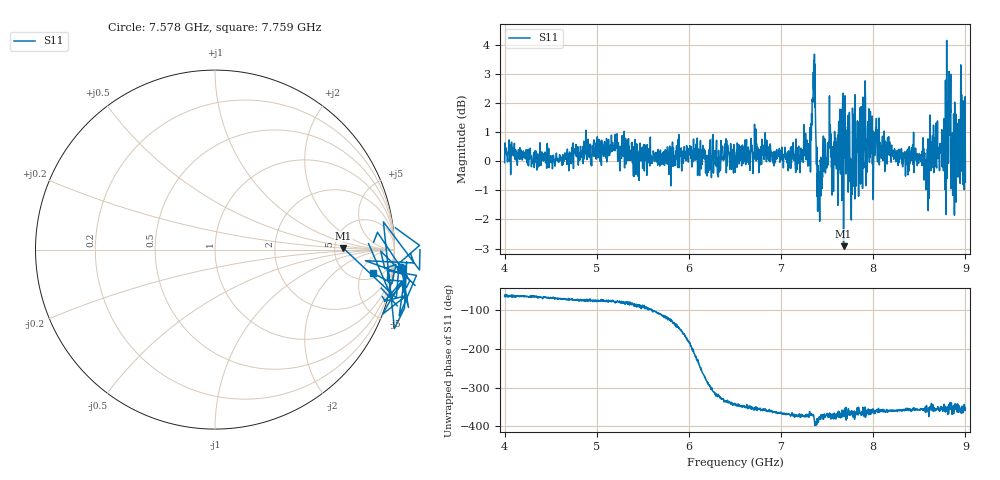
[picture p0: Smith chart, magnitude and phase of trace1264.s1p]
! Created with skrf 1.8.0 (http://scikit-rf.org).
# Hz S RI R 50.0
!freq ReS11 ImS11
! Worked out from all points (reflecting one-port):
!   1601 points, 4 GHz to 9 GHz, reference 50 ohm
!   lowest |S11| = -2.9 dB at 7.678 GHz (marker M1), VSWR 6.01, Z = 300 + j10.6 ohm
!   phase of S11 starts at -63 deg and turns -292 deg over the sweep
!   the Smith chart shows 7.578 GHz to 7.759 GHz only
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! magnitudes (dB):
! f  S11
! 4 GHz  0.0
! 4.625 GHz  -0.1
! 5.25 GHz  -0.3
! 5.875 GHz  0.3
! 6.5 GHz  -0.2
! 7.125 GHz  0.4
! 7.294 GHz  0.1
! 7.35 GHz  3.1
! 7.369 GHz  3.3
! 7.397 GHz  -1.7
! 7.416 GHz  -1.3
! 7.519 GHz  0.7
! 7.591 GHz  0.8
! 7.65 GHz  1.8
! 7.678 GHz  -2.9
! 7.719 GHz  1.1
! 7.75 GHz  -0.4
! 7.962 GHz  1.7
! 8 GHz  -1.3
! 8.375 GHz  0.0
! 8.522 GHz  0.0
! 8.581 GHz  -0.2
! 8.678 GHz  0.0
! 8.769 GHz  1.5
! 8.822 GHz  3.1
! 8.869 GHz  -0.3
! 8.972 GHz  0.5
! 9 GHz  -0.7
